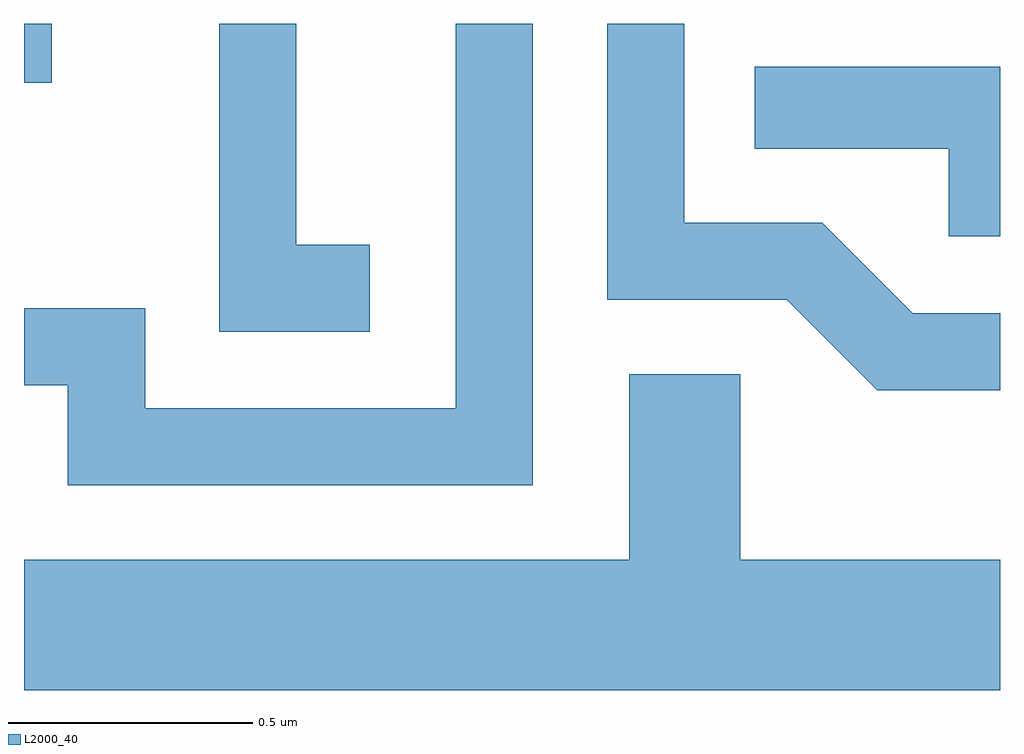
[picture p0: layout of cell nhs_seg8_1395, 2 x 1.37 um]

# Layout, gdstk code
import gdstk
lib = gdstk.Library(unit=1e-6, precision=1e-09)
def R(c, l, rs):  # rectangles x0, y0, x1, y1
    for r in rs: c.add(gdstk.rectangle(r[:2], r[2:], *l))
def P(c, l, *ps):  # polygons
    for p in ps: c.add(gdstk.Polygon(p, *l))
L2000_40 = (2000, 40)

nhs_seg8_1395 = lib.new_cell('nhs_seg8_1395')
R(nhs_seg8_1395, L2000_40, [(195.611,1833.221,195.668,1833.342)])
P(nhs_seg8_1395, L2000_40, [(196.319,1832.889),(196.169,1832.889),(196.169,1833.342),(196.011,1833.342),(196.011,1832.711),(196.319,1832.711)],
  [(196.654,1833.342),(196.496,1833.342),(196.496,1832.554),(195.859,1832.554),(195.859,1832.759),(195.611,1832.759),(195.611,1832.601),(195.701,1832.601),(195.701,1832.396),(196.654,1832.396)],
  [(197.611,1832.749),(197.432,1832.749),(197.247,1832.934),(196.964,1832.934),(196.964,1833.342),(196.806,1833.342),(196.806,1832.776),(197.174,1832.776),(197.359,1832.591),(197.611,1832.591)],
  [(197.611,1833.254),(197.108,1833.254),(197.108,1833.086),(197.506,1833.086),(197.506,1832.906),(197.611,1832.906)],
  [(197.611,1832.244),(197.079,1832.244),(197.079,1832.624),(196.851,1832.624),(196.851,1832.244),(195.611,1832.244),(195.611,1831.976),(197.611,1831.976)])

lib.write_gds('nhs_seg8_1395.gds')
